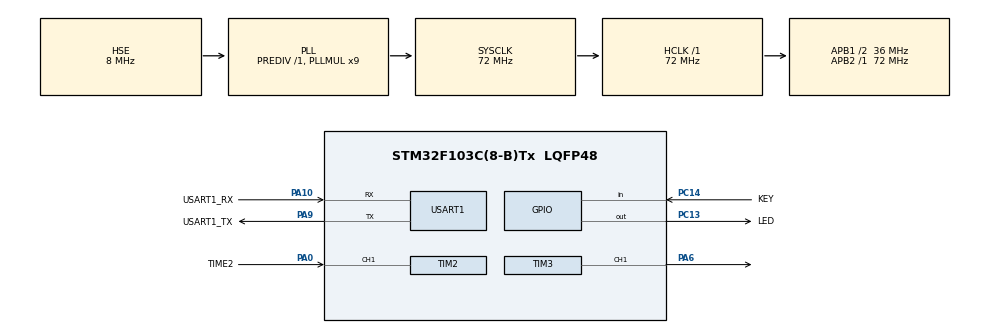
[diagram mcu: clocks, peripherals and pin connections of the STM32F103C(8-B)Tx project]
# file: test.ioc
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Dma.MEMTOMEM.2.Direction=DMA_MEMORY_TO_MEMORY
Dma.MEMTOMEM.2.Instance=DMA1_Channel1
Dma.MEMTOMEM.2.MemDataAlignment=DMA_MDATAALIGN_BYTE
Dma.MEMTOMEM.2.MemInc=DMA_MINC_ENABLE
Dma.MEMTOMEM.2.Mode=DMA_NORMAL
Dma.MEMTOMEM.2.PeriphDataAlignment=DMA_PDATAALIGN_BYTE
Dma.MEMTOMEM.2.PeriphInc=DMA_PINC_DISABLE
Dma.MEMTOMEM.2.Priority=DMA_PRIORITY_LOW
Dma.Request0=USART1_RX
Dma.Request1=USART1_TX
Dma.Request2=MEMTOMEM
Dma.USART1_RX.0.Direction=DMA_PERIPH_TO_MEMORY
Dma.USART1_RX.0.Instance=DMA1_Channel5
Dma.USART1_RX.0.MemDataAlignment=DMA_MDATAALIGN_BYTE
Dma.USART1_RX.0.MemInc=DMA_MINC_ENABLE
Dma.USART1_RX.0.Mode=DMA_NORMAL
Dma.USART1_RX.0.PeriphDataAlignment=DMA_PDATAALIGN_BYTE
Dma.USART1_RX.0.PeriphInc=DMA_PINC_DISABLE
Dma.USART1_RX.0.Priority=DMA_PRIORITY_LOW
Dma.USART1_TX.1.Direction=DMA_MEMORY_TO_PERIPH
Dma.USART1_TX.1.Instance=DMA1_Channel4
Dma.USART1_TX.1.MemDataAlignment=DMA_MDATAALIGN_BYTE
Dma.USART1_TX.1.MemInc=DMA_MINC_ENABLE
Dma.USART1_TX.1.Mode=DMA_NORMAL
Dma.USART1_TX.1.PeriphDataAlignment=DMA_PDATAALIGN_BYTE
Dma.USART1_TX.1.PeriphInc=DMA_PINC_DISABLE
Dma.USART1_TX.1.Priority=DMA_PRIORITY_LOW
Mcu.Family=STM32F1
Mcu.Name=STM32F103C(8-B)Tx
Mcu.Package=LQFP48
NVIC.DMA1_Channel4_IRQn=true\:0\:0\:false\:false\:true\:false\:true\:true
NVIC.DMA1_Channel5_IRQn=true\:0\:0\:false\:false\:true\:false\:true\:true
NVIC.PriorityGroup=NVIC_PRIORITYGROUP_2
NVIC.TIM2_IRQn=true\:1\:0\:true\:false\:true\:true\:true\:true
NVIC.USART1_IRQn=true\:2\:0\:true\:false\:true\:true\:true\:true
PA0-WKUP.GPIO_Label=TIME2
PA0-WKUP.GPIO_PuPd=GPIO_PULLUP
PA0-WKUP.Signal=S_TIM2_CH1_ETR
PA10.GPIO_Label=USART1_RX
PA10.Mode=Asynchronous
PA10.Signal=USART1_RX
PA13.Mode=Serial_Wire
PA13.Signal=SYS_JTMS-SWDIO
PA14.Mode=Serial_Wire
PA14.Signal=SYS_JTCK-SWCLK
PA6.Signal=S_TIM3_CH1
PA9.GPIO_Label=USART1_TX
PA9.Mode=Asynchronous
PA9.Signal=USART1_TX
PC13-TAMPER-RTC.GPIO_Label=LED
PC13-TAMPER-RTC.GPIO_ModeDefaultOutputPP=GPIO_MODE_OUTPUT_PP
PC13-TAMPER-RTC.GPIO_PuPd=GPIO_PULLUP
PC13-TAMPER-RTC.GPIO_Speed=GPIO_SPEED_FREQ_MEDIUM
PC13-TAMPER-RTC.PinState=GPIO_PIN_SET
PC13-TAMPER-RTC.Signal=GPIO_Output
PC14-OSC32_IN.GPIO_Label=KEY
PC14-OSC32_IN.GPIO_PuPd=GPIO_PULLUP
PC14-OSC32_IN.Signal=GPIO_Input
PD0-OSC_IN.Mode=HSE-External-Oscillator
PD0-OSC_IN.Signal=RCC_OSC_IN
PD1-OSC_OUT.Mode=HSE-External-Oscillator
PD1-OSC_OUT.Signal=RCC_OSC_OUT
ProjectManager.HeapSize=0x200
ProjectManager.StackSize=0x400
ProjectManager.TargetToolchain=MDK-ARM V5.32
RCC.AHBFreq_Value=72000000
RCC.APB1CLKDivider=RCC_HCLK_DIV2
RCC.APB1Freq_Value=36000000
RCC.APB1TimFreq_Value=72000000
RCC.APB2Freq_Value=72000000
RCC.APB2TimFreq_Value=72000000
RCC.HCLKFreq_Value=72000000
RCC.PLLMUL=RCC_PLL_MUL9
RCC.PLLSourceVirtual=RCC_PLLSOURCE_HSE
RCC.SYSCLKFreq_VALUE=72000000
RCC.SYSCLKSource=RCC_SYSCLKSOURCE_PLLCLK
RCC.USBFreq_Value=72000000
SH.S_TIM2_CH1_ETR.0=TIM2_CH1,Input_Capture1_from_TI1
SH.S_TIM3_CH1.0=TIM3_CH1,PWM Generation1 CH1
TIM1.Period=65535
TIM1.Prescaler=72-1
TIM2.AutoReloadPreload=TIM_AUTORELOAD_PRELOAD_ENABLE
TIM2.Channel-Input_Capture1_from_TI1=TIM_CHANNEL_1
TIM2.ICFilter_CH1=8
TIM2.Period=10000-1
TIM2.Prescaler=72-1
TIM3.Channel-PWM\ Generation1\ CH1=TIM_CHANNEL_1
TIM3.Period=1895-1
TIM3.Pulse-PWM\ Generation1\ CH1=947
USART1.VirtualMode=VM_ASYNC
VP_TIM1_VS_ClockSourceINT.Mode=Internal
VP_TIM2_VS_ClockSourceINT.Mode=Internal
VP_TIM3_VS_ClockSourceINT.Mode=Internal
board=custom

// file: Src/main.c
/* USER CODE BEGIN Header */
/**
 ******************************************************************************
 * @file           : main.c
 * @brief          : Main program body
 ******************************************************************************
 * @attention
 *
 * Copyright (c) 2024 STMicroelectronics.
 * All rights reserved.
 *
 * This software is licensed under terms that can be found in the LICENSE file
 * in the root directory of this software component.
 * If no LICENSE file comes with this software, it is provided AS-IS.
 *
 ******************************************************************************
 */
/* USER CODE END Header */
#include "main.h"
#include "dma.h"
#include "tim.h"
#include "usart.h"
#include "gpio.h"

/* USER CODE BEGIN Includes */

#include "stdio.h"

/* USER CODE END Includes */

/* USER CODE BEGIN PD */

uint16_t time_us = 0;
uint16_t time_ms = 0;

/* USER CODE END PD */

void SystemClock_Config(void);

int main(void)
{

	/* MCU Configuration--------------------------------------------------------*/

	/* Reset of all peripherals, Initializes the Flash interface and the Systick. */
	HAL_Init();

	/* Configure the system clock */
	SystemClock_Config();

	/* Initialize all configured peripherals */
	MX_GPIO_Init();
	MX_DMA_Init();
	MX_TIM1_Init();
	MX_TIM2_Init();
	MX_TIM3_Init();
	MX_USART1_UART_Init();

	/* Infinite loop */
	/* USER CODE BEGIN WHILE */
	while (1)
	{
		USART_manage();

		uint8_t key = remote_scan();

		if (key)
		{
			printf("HW is %d\r\n", g_remote_data);
			HAL_Delay(10);
		}

		if (!Read_KEY)
		{
			IR_LED_SendNEC(0X00, 0x1C);
			HAL_Delay(20);
		}
		else
		{
			__HAL_TIM_SET_COMPARE(&htim3, TIM_CHANNEL_1, 0);
			HAL_Delay_us(560);
		}

		printf("HW\r\n");
		//HAL_Delay_us(1000);
		HAL_Delay(100);

		/* USER CODE END WHILE */

	}
}

void SystemClock_Config(void)
{
	RCC_OscInitTypeDef RCC_OscInitStruct = {0};
	RCC_ClkInitTypeDef RCC_ClkInitStruct = {0};

	/** Initializes the RCC Oscillators according to the specified parameters
	 * in the RCC_OscInitTypeDef structure.
	 */
	RCC_OscInitStruct.OscillatorType = RCC_OSCILLATORTYPE_HSE;
	RCC_OscInitStruct.HSEState = RCC_HSE_ON;
	RCC_OscInitStruct.HSEPredivValue = RCC_HSE_PREDIV_DIV1;
	RCC_OscInitStruct.HSIState = RCC_HSI_ON;
	RCC_OscInitStruct.PLL.PLLState = RCC_PLL_ON;
	RCC_OscInitStruct.PLL.PLLSource = RCC_PLLSOURCE_HSE;
	RCC_OscInitStruct.PLL.PLLMUL = RCC_PLL_MUL9;
	if (HAL_RCC_OscConfig(&RCC_OscInitStruct) != HAL_OK)
	{
		Error_Handler();
	}

	/** Initializes the CPU, AHB and APB buses clocks
	 */
	RCC_ClkInitStruct.ClockType = RCC_CLOCKTYPE_HCLK | RCC_CLOCKTYPE_SYSCLK | RCC_CLOCKTYPE_PCLK1 | RCC_CLOCKTYPE_PCLK2;
	RCC_ClkInitStruct.SYSCLKSource = RCC_SYSCLKSOURCE_PLLCLK;
	RCC_ClkInitStruct.AHBCLKDivider = RCC_SYSCLK_DIV1;
	RCC_ClkInitStruct.APB1CLKDivider = RCC_HCLK_DIV2;
	RCC_ClkInitStruct.APB2CLKDivider = RCC_HCLK_DIV1;

	if (HAL_RCC_ClockConfig(&RCC_ClkInitStruct, FLASH_LATENCY_2) != HAL_OK)
	{
		Error_Handler();
	}
}

void Error_Handler(void)
{
	__disable_irq();
	while (1)
	{
	}
}
